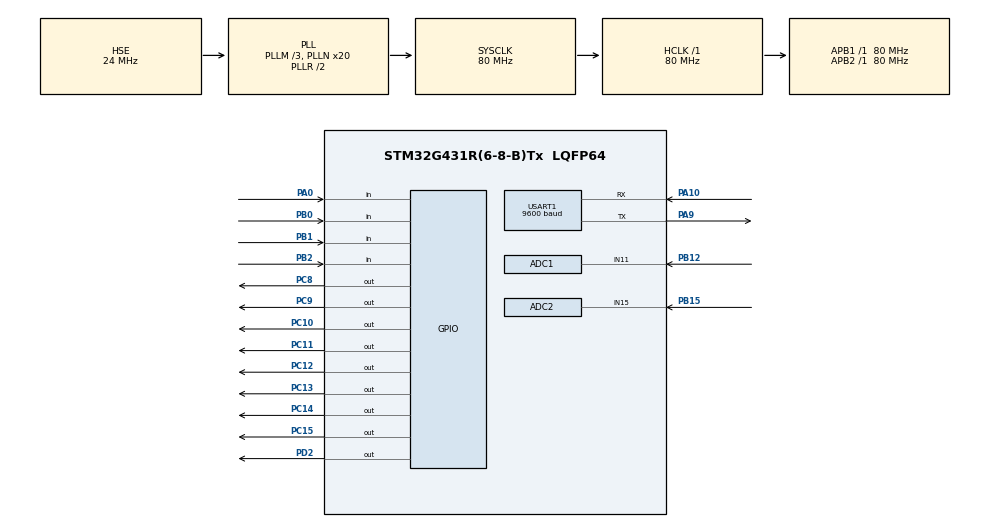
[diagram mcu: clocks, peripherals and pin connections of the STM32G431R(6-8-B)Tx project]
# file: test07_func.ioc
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ADC1.Channel-0\#ChannelRegularConversion=ADC_CHANNEL_11
ADC1.NbrOfConversionFlag=1
ADC1.OffsetNumber-0\#ChannelRegularConversion=ADC_OFFSET_NONE
ADC1.Rank-0\#ChannelRegularConversion=1
ADC1.SamplingTime-0\#ChannelRegularConversion=ADC_SAMPLETIME_2CYCLES_5
ADC1.master=1
ADC2.Channel-0\#ChannelRegularConversion=ADC_CHANNEL_15
ADC2.NbrOfConversionFlag=1
ADC2.OffsetNumber-0\#ChannelRegularConversion=ADC_OFFSET_NONE
ADC2.Rank-0\#ChannelRegularConversion=1
ADC2.SamplingTime-0\#ChannelRegularConversion=ADC_SAMPLETIME_2CYCLES_5
Mcu.Family=STM32G4
Mcu.Name=STM32G431R(6-8-B)Tx
Mcu.Package=LQFP64
NVIC.PriorityGroup=NVIC_PRIORITYGROUP_4
NVIC.USART1_IRQn=true\:0\:0\:false\:false\:true\:true\:true\:true
PA0.GPIO_PuPd=GPIO_PULLUP
PA0.Signal=GPIO_Input
PA10.Mode=Asynchronous
PA10.Signal=USART1_RX
PA13.Mode=Serial_Wire
PA13.Signal=SYS_JTMS-SWDIO
PA14.Mode=Serial_Wire
PA14.Signal=SYS_JTCK-SWCLK
PA9.Mode=Asynchronous
PA9.Signal=USART1_TX
PB0.GPIO_PuPd=GPIO_PULLUP
PB0.Signal=GPIO_Input
PB1.GPIO_PuPd=GPIO_PULLUP
PB1.Signal=GPIO_Input
PB12.Mode=IN11-Single-Ended
PB12.Signal=ADC1_IN11
PB15.Mode=IN15-Single-Ended
PB15.Signal=ADC2_IN15
PB2.GPIO_PuPd=GPIO_PULLUP
PB2.Signal=GPIO_Input
PC10.PinState=GPIO_PIN_SET
PC10.Signal=GPIO_Output
PC11.PinState=GPIO_PIN_SET
PC11.Signal=GPIO_Output
PC12.PinState=GPIO_PIN_SET
PC12.Signal=GPIO_Output
PC13.PinState=GPIO_PIN_SET
PC13.Signal=GPIO_Output
PC14-OSC32_IN.PinState=GPIO_PIN_SET
PC14-OSC32_IN.Signal=GPIO_Output
PC15-OSC32_OUT.PinState=GPIO_PIN_SET
PC15-OSC32_OUT.Signal=GPIO_Output
PC8.PinState=GPIO_PIN_SET
PC8.Signal=GPIO_Output
PC9.PinState=GPIO_PIN_SET
PC9.Signal=GPIO_Output
PD2.Signal=GPIO_Output
PF0-OSC_IN.Mode=HSE-External-Oscillator
PF0-OSC_IN.Signal=RCC_OSC_IN
PF1-OSC_OUT.Mode=HSE-External-Oscillator
PF1-OSC_OUT.Signal=RCC_OSC_OUT
ProjectManager.HeapSize=0x200
ProjectManager.StackSize=0x400
ProjectManager.TargetToolchain=MDK-ARM V5.32
RCC.ADC12Freq_Value=80000000
RCC.AHBFreq_Value=80000000
RCC.APB1Freq_Value=80000000
RCC.APB1TimFreq_Value=80000000
RCC.APB2Freq_Value=80000000
RCC.APB2TimFreq_Value=80000000
RCC.CortexFreq_Value=80000000
RCC.EXTERNAL_CLOCK_VALUE=12288000
RCC.HCLKFreq_Value=80000000
RCC.HSE_VALUE=24000000
RCC.HSI48_VALUE=48000000
RCC.HSI_VALUE=16000000
RCC.LSE_VALUE=32768
RCC.PLLM=RCC_PLLM_DIV3
RCC.PLLN=20
RCC.PLLSourceVirtual=RCC_PLLSOURCE_HSE
RCC.SYSCLKFreq_VALUE=80000000
RCC.SYSCLKSource=RCC_SYSCLKSOURCE_PLLCLK
RCC.USBFreq_Value=80000000
RCC.VCOOutputFreq_Value=160000000
USART1.BaudRate=9600
USART1.VirtualMode-Asynchronous=VM_ASYNC
VP_SYS_VS_DBSignals.Mode=DisableDeadBatterySignals
board=custom

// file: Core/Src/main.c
/* USER CODE BEGIN Header */
/**
  ******************************************************************************
  * @file           : main.c
  * @brief          : Main program body
  ******************************************************************************
  * @attention
  *
  * Copyright (c) 2025 STMicroelectronics.
  * All rights reserved.
  *
  * This software is licensed under terms that can be found in the LICENSE file
  * in the root directory of this software component.
  * If no LICENSE file comes with this software, it is provided AS-IS.
  *
  ******************************************************************************
  */
/* USER CODE END Header */
#include "main.h"
#include "adc.h"
#include "usart.h"
#include "gpio.h"

/* USER CODE BEGIN Includes */
#include "header.h"
/* USER CODE END Includes */

void SystemClock_Config(void);

/* USER CODE BEGIN 0 */
uint8_t page;
uint8_t line;
uint8_t count1,count2,count3;
char text[20];
double GET_Vol(ADC_HandleTypeDef* hadc){
    HAL_ADC_Start(hadc);
    uint32_t vol=HAL_ADC_GetValue(hadc);
    return vol*3.3/4096;
}
void LCD_Proc(){
    if(page==0){
        sprintf(text, "r37:%.2f", GET_Vol(&hadc2));
        LCD_DisplayStringLine(Line3, (uint8_t*)text);
        HAL_ADC_Start(&hadc1);
        sprintf(text, "r38:%.2f", GET_Vol(&hadc1));
        LCD_DisplayStringLine(Line4, (uint8_t*)text);
        HAL_ADC_Start(&hadc2);
    }else if(page==1){
        if(line==0){
            LCD_SetBackColor(Blue);
        }else{
            LCD_SetBackColor(Black);
        }
        sprintf(text, "     count1:%03d     ", count1);
        LCD_DisplayStringLine(Line0, (uint8_t*)text);
        if(line==1){
            LCD_SetBackColor(Blue);
        }else{
            LCD_SetBackColor(Black);
        }
        sprintf(text, "     count2:%03d     ", count2);
        LCD_DisplayStringLine(Line1, (uint8_t*)text);
        if(line==2){
            LCD_SetBackColor(Blue);
        }else{
            LCD_SetBackColor(Black);
        }
        sprintf(text, "     count3:%03d     ", count3);
        LCD_DisplayStringLine(Line2, (uint8_t*)text);
    }else if(page==2){
        sprintf(text, "        page03        ");
        LCD_DisplayStringLine(Line0, (uint8_t*)text);
    }
}
/* USER CODE END 0 */

int main(void)
{

  /* MCU Configuration--------------------------------------------------------*/

  /* Reset of all peripherals, Initializes the Flash interface and the Systick. */
  HAL_Init();

  /* Configure the system clock */
  SystemClock_Config();

  /* Initialize all configured peripherals */
  MX_GPIO_Init();
  MX_USART1_UART_Init();
  MX_ADC1_Init();
  MX_ADC2_Init();
  /* USER CODE BEGIN 2 */
  // LCD相关配置
  LCD_Init();
  LCD_Clear(Black);
  LCD_SetBackColor(Black);
  LCD_SetTextColor(White);
  // 开启接收中断
  //HAL_UART_Receive_IT(&huart1, &rec_data, 1);
  //HAL_UART_Transmit(&huart1, (uint8_t*)"hello", 5, 50);
  // 对ADC进行校准
  HAL_ADCEx_Calibration_Start(&hadc1, ADC_SINGLE_ENDED);
  HAL_ADCEx_Calibration_Start(&hadc2, ADC_SINGLE_ENDED);
  /* USER CODE END 2 */

  /* Infinite loop */
  /* USER CODE BEGIN WHILE */
  while (1)
  {
        LCD_Proc();
    /* USER CODE END WHILE */

  }
}

void SystemClock_Config(void)
{
  RCC_OscInitTypeDef RCC_OscInitStruct = {0};
  RCC_ClkInitTypeDef RCC_ClkInitStruct = {0};

  /** Configure the main internal regulator output voltage
  */
  HAL_PWREx_ControlVoltageScaling(PWR_REGULATOR_VOLTAGE_SCALE1);

  /** Initializes the RCC Oscillators according to the specified parameters
  * in the RCC_OscInitTypeDef structure.
  */
  RCC_OscInitStruct.OscillatorType = RCC_OSCILLATORTYPE_HSE;
  RCC_OscInitStruct.HSEState = RCC_HSE_ON;
  RCC_OscInitStruct.PLL.PLLState = RCC_PLL_ON;
  RCC_OscInitStruct.PLL.PLLSource = RCC_PLLSOURCE_HSE;
  RCC_OscInitStruct.PLL.PLLM = RCC_PLLM_DIV3;
  RCC_OscInitStruct.PLL.PLLN = 20;
  RCC_OscInitStruct.PLL.PLLP = RCC_PLLP_DIV2;
  RCC_OscInitStruct.PLL.PLLQ = RCC_PLLQ_DIV2;
  RCC_OscInitStruct.PLL.PLLR = RCC_PLLR_DIV2;
  if (HAL_RCC_OscConfig(&RCC_OscInitStruct) != HAL_OK)
  {
    Error_Handler();
  }

  /** Initializes the CPU, AHB and APB buses clocks
  */
  RCC_ClkInitStruct.ClockType = RCC_CLOCKTYPE_HCLK|RCC_CLOCKTYPE_SYSCLK
                              |RCC_CLOCKTYPE_PCLK1|RCC_CLOCKTYPE_PCLK2;
  RCC_ClkInitStruct.SYSCLKSource = RCC_SYSCLKSOURCE_PLLCLK;
  RCC_ClkInitStruct.AHBCLKDivider = RCC_SYSCLK_DIV1;
  RCC_ClkInitStruct.APB1CLKDivider = RCC_HCLK_DIV1;
  RCC_ClkInitStruct.APB2CLKDivider = RCC_HCLK_DIV1;

  if (HAL_RCC_ClockConfig(&RCC_ClkInitStruct, FLASH_LATENCY_2) != HAL_OK)
  {
    Error_Handler();
  }
}

void Error_Handler(void)
{
  __disable_irq();
  while (1)
  {
  }
}
